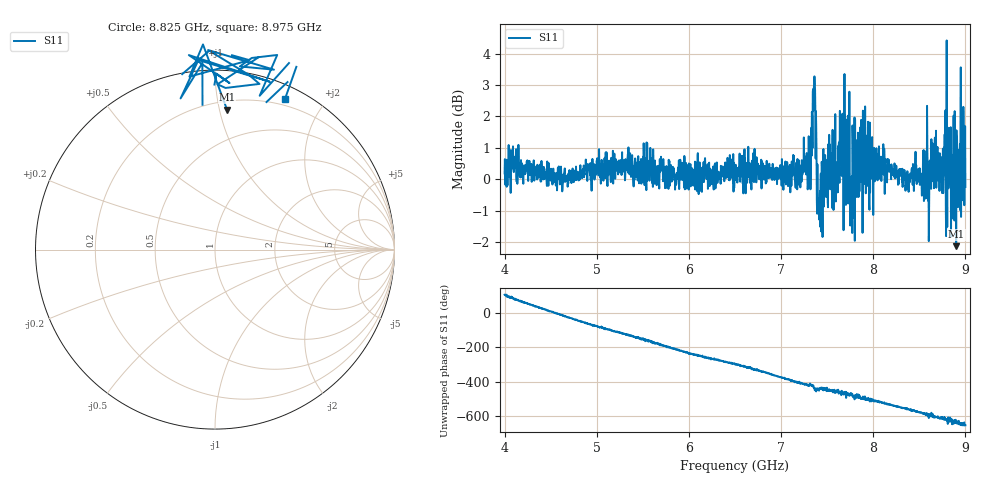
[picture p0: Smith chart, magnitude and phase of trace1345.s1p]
! Created with skrf 1.8.0 (http://scikit-rf.org).
# Hz S RI R 50.0
!freq ReS11 ImS11
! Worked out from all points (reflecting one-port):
!   1601 points, 4 GHz to 9 GHz, reference 50 ohm
!   lowest |S11| = -2.1 dB at 8.9 GHz (marker M1), VSWR 8.18, Z = 13.1 + j52.7 ohm
!   phase of S11 starts at 108 deg and turns -762 deg over the sweep
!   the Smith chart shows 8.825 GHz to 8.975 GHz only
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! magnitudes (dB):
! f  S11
! 4 GHz  0.2
! 4.1 GHz  0.2
! 4.625 GHz  -0.4
! 5.25 GHz  0.3
! 5.875 GHz  0.1
! 6.5 GHz  0.1
! 7.125 GHz  0.4
! 7.297 GHz  0.0
! 7.359 GHz  3.0
! 7.412 GHz  -0.6
! 7.478 GHz  0.8
! 7.591 GHz  -0.3
! 7.662 GHz  0.9
! 7.75 GHz  -1.5
! 7.775 GHz  1.7
! 7.8 GHz  -2.0
! 7.928 GHz  0.7
! 7.981 GHz  0.2
! 8.375 GHz  0.1
! 8.566 GHz  -0.6
! 8.584 GHz  2.3
! 8.656 GHz  0.6
! 8.741 GHz  -0.1
! 8.816 GHz  -0.3
! 8.856 GHz  -0.1
! 8.9 GHz  -2.1
! 8.972 GHz  0.9
! 9 GHz  -0.2
